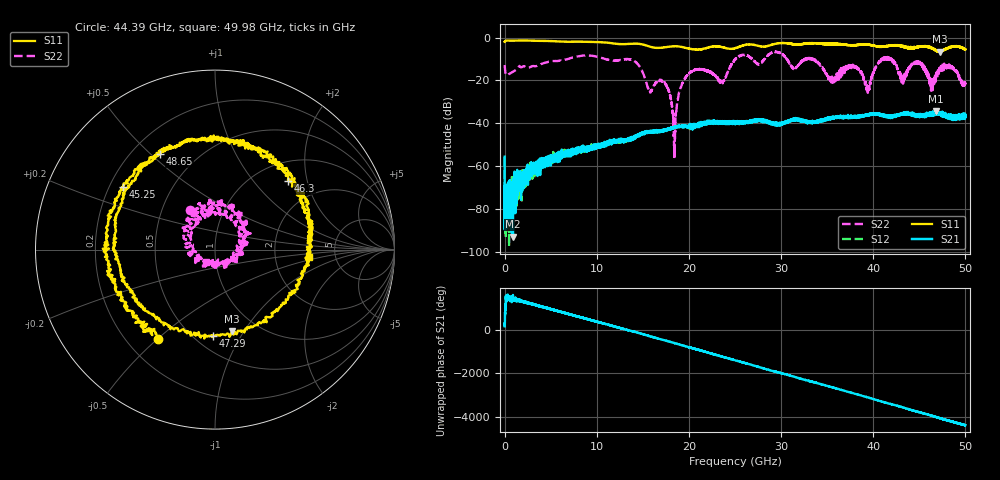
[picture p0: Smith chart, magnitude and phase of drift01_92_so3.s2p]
!Created with skrf (http://scikit-rf.org).
# Hz S RI R 50.0
!freq ReS11 ImS11 ReS21 ImS21 ReS12 ImS12 ReS22 ImS22
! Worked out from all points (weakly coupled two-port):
!   10001 points, 300 kHz to 50 GHz, reference 50 ohm
!   highest |S21| = -34.25 dB at 46.81 GHz (marker M1); lowest = -92.8 dB at 910.3 MHz (marker M2)
!   lowest |S11| = -6.6 dB at 47.21 GHz (marker M3), VSWR 2.74, Z = 38.2 - j44.5 ohm
!   |S11| at or under -10 dB: nowhere
!   |S22| runs from -55.7 to -6.6 dB; largest |S21 - S12| = 0.0044
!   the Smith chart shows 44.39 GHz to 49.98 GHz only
!   S11 on the Smith chart (normalised r, x): 44.39 GHz: 0.33, -0.50; 45.25 GHz: 0.25, +0.29; 46.3 GHz: 1.38, +1.54; 47.29 GHz: 0.62, -0.77; 48.65 GHz: 0.31, +0.54; 49.98 GHz: 3.17, -0.36
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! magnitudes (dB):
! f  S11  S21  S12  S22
! 300 kHz  -2.0  -55.6  -55.9  -12.8
! 255.3 MHz  -1.4  -74.8  -81.3  -17.5
! 910.3 MHz  -1.5  -92.8  -70.8  -15.9
! 8.335 GHz  -1.9  -52.3  -51.3  -8.5
! 16.67 GHz  -4.8  -44.1  -44.1  -20.0
! 17.74 GHz  -4.3  -42.6  -42.9  -24.0
! 18.43 GHz  -4.1  -41.9  -42.0  -52.8
! 19.9 GHz  -5.1  -41.9  -41.5  -17.2
! 23.6 GHz  -4.5  -39.7  -39.7  -20.5
! 25 GHz  -5.0  -39.9  -39.7  -10.4
! 33.34 GHz  -2.6  -39.3  -39.3  -9.9
! 39.36 GHz  -3.3  -35.8  -36.1  -23.1
! 41.67 GHz  -3.9  -36.8  -36.5  -10.2
! 44.39 GHz  -4.5  -35.5  -36.0  -11.7
! 45.25 GHz  -4.1  -36.2  -36.4  -12.4
! 46.3 GHz  -5.0  -35.7  -35.0  -22.4
! 46.81 GHz  -6.2  -34.2  -35.5  -18.2
! 47.21 GHz  -6.6  -34.9  -35.5  -14.7
! 47.29 GHz  -6.4  -34.9  -35.8  -15.8
! 48.65 GHz  -4.2  -36.7  -37.1  -14.2
! 49.98 GHz  -5.6  -36.9  -36.5  -21.5
! 50 GHz  -5.5  -36.6  -36.1  -21.6
